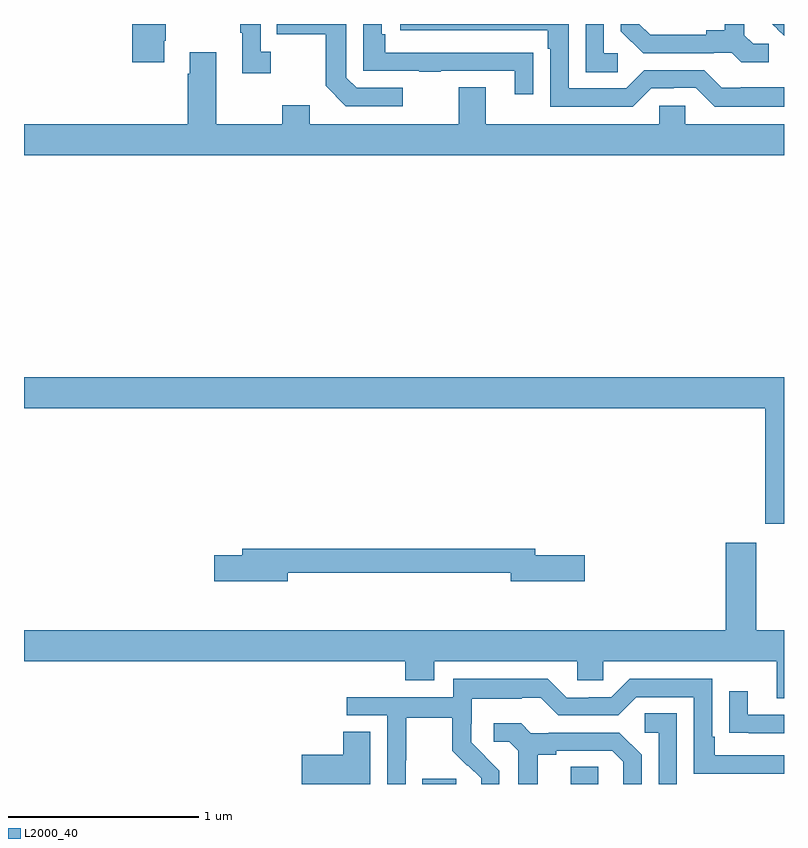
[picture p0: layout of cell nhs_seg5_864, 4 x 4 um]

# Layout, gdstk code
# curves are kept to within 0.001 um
import gdstk
lib = gdstk.Library(unit=1e-6, precision=1e-09)
def R(c, l, rs):  # rectangles x0, y0, x1, y1
    for r in rs: c.add(gdstk.rectangle(r[:2], r[2:], *l))
def P(c, l, *ps):  # polygons
    for p in ps: c.add(gdstk.Polygon(p, *l))
L2000_40 = (2000, 40)

nhs_seg5_864 = lib.new_cell('nhs_seg5_864')
R(nhs_seg5_864, L2000_40, [(169.097,838.799,169.276,838.827), (169.877,838.799,170.022,838.889)])
P(nhs_seg5_864, L2000_40, [(170.92,842.694),(170.838,842.694),(170.791,842.741),(170.791,842.799),(170.687,842.799),(170.687,842.765),(170.591,842.765),(170.591,842.742),(170.296,842.742),(170.239,842.799),(170.142,842.799),(170.142,842.762),(170.258,842.646),(170.63,842.646),(170.63,842.649),(170.724,842.649),(170.776,842.597),(170.92,842.597)],
  [(167.737,842.71),(167.745,842.71),(167.745,842.799),(167.57,842.799),(167.57,842.598),(167.737,842.598)],
  [(168.298,842.654),(168.246,842.654),(168.246,842.799),(168.138,842.799),(168.138,842.753),(168.149,842.753),(168.149,842.541),(168.298,842.541)],
  [(168.994,842.463),(168.75,842.463),(168.696,842.517),(168.696,842.799),(168.331,842.799),(168.331,842.746),(168.588,842.746),(168.588,842.473),(168.693,842.367),(168.994,842.367)],
  [(169.679,842.648),(169.577,842.648),(169.577,842.649),(168.902,842.649),(168.902,842.746),(168.882,842.746),(168.882,842.799),(168.786,842.799),(168.786,842.553),(169.081,842.553),(169.081,842.548),(169.193,842.548),(169.193,842.553),(169.583,842.553),(169.583,842.43),(169.679,842.43)],
  [(171,842.467),(170.773,842.467),(170.773,842.463),(170.673,842.463),(170.58,842.556),(170.265,842.556),(170.169,842.46),(169.866,842.46),(169.866,842.799),(168.981,842.799),(168.981,842.766),(169.757,842.766),(169.757,842.669),(169.77,842.669),(169.77,842.364),(170.205,842.364),(170.301,842.46),(170.42,842.46),(170.42,842.463),(170.535,842.463),(170.635,842.363),(171,842.363)],
  [(170.125,842.646),(170.052,842.646),(170.052,842.799),(169.956,842.799),(169.956,842.545),(170.125,842.545)],
  [(171,842.799),(170.939,842.799),(170.965,842.773),(170.964,842.772),(171,842.736)],
  [(171,842.272),(170.481,842.272),(170.481,842.37),(170.343,842.37),(170.343,842.272),(169.429,842.272),(169.429,842.467),(169.289,842.467),(169.289,842.272),(168.505,842.272),(168.505,842.371),(168.358,842.371),(168.358,842.272),(168.013,842.272),(168.013,842.65),(167.873,842.65),(167.873,842.537),(167.861,842.537),(167.861,842.272),(167,842.272),(167,842.108),(171,842.108)],
  [(171,840.94),(167,840.94),(167,840.776),(170.9,840.776),(170.9,840.17),(171,840.17)],
  [(171,839.608),(170.853,839.608),(170.853,840.07),(170.693,840.07),(170.693,839.608),(167,839.608),(167,839.444),(169.007,839.444),(169.007,839.345),(169.159,839.345),(169.159,839.444),(169.911,839.444),(169.911,839.346),(170.049,839.346),(170.049,839.444),(170.963,839.444),(170.963,839.25),(171,839.25)],
  [(168.388,839.91),(169.562,839.91),(169.562,839.867),(169.951,839.867),(169.951,840.002),(169.69,840.002),(169.69,840.038),(168.149,840.038),(168.149,840.002),(168,840.002),(168,839.867),(168.388,839.867)],
  [(169.008,838.924),(169.011,838.924),(169.011,839.148),(169.255,839.148),(169.255,838.973),(169.332,838.896),(169.335,838.899),(169.406,838.829),(169.406,838.799),(169.5,838.799),(169.5,838.87),(169.354,839.018),(169.354,839.115),(169.356,839.115),(169.356,839.249),(169.619,839.249),(169.619,839.253),(169.719,839.253),(169.812,839.16),(170.127,839.16),(170.223,839.256),(170.526,839.256),(170.526,838.854),(171,838.854),(171,838.95),(170.635,838.95),(170.635,839.047),(170.622,839.047),(170.622,839.352),(170.187,839.352),(170.091,839.256),(169.973,839.256),(169.973,839.253),(169.857,839.253),(169.757,839.353),(169.26,839.353),(169.26,839.256),(168.699,839.256),(168.699,839.16),(168.912,839.16),(168.912,838.799),(169.008,838.799)],
  [(171,839.163),(170.809,839.163),(170.809,839.287),(170.713,839.287),(170.713,839.068),(170.815,839.068),(170.815,839.067),(171,839.067)],
  [(170.436,839.171),(170.268,839.171),(170.268,839.07),(170.34,839.07),(170.34,838.799),(170.436,838.799)],
  [(169.705,838.952),(169.801,838.952),(169.801,838.974),(170.096,838.974),(170.153,838.917),(170.153,838.799),(170.25,838.799),(170.25,838.954),(170.134,839.07),(169.762,839.07),(169.762,839.067),(169.668,839.067),(169.616,839.119),(169.473,839.119),(169.473,839.022),(169.554,839.022),(169.601,838.975),(169.601,838.799),(169.705,838.799)],
  [(168.823,839.075),(168.68,839.075),(168.68,838.952),(168.462,838.952),(168.462,838.799),(168.823,838.799)])

lib.write_gds('nhs_seg5_864.gds')
